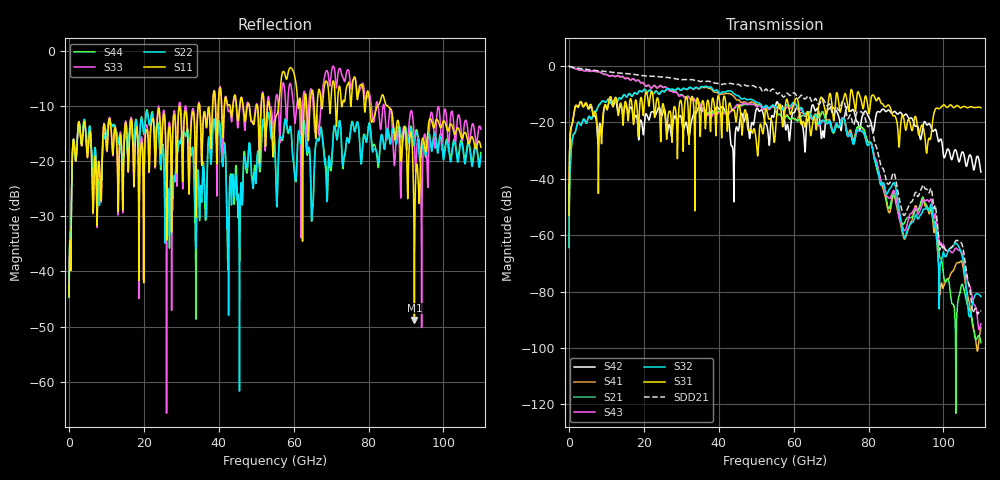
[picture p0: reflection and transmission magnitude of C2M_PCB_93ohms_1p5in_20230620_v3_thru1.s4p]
! Info: Touchstone file created by Circ.  Input file=C2M_PCB_93ohms_1p5in_20230620_v3.circ
# Hz S RI R 50
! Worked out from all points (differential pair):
!   11000 points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, 10 MHz to 110 GHz, reference 50 ohm
!   strongest paths, dB at 10 MHz, 27.51 GHz, 55.01 GHz, 82.51 GHz, 110 GHz:
!     S31: -52.8, -27.0, -25.3, -11.4, -14.8
!     S32: -64.3, -8.2, -14.3, -37.2, -81.7
!     S43: -0.1, -9.0, -14.7, -35.7, -91.5
!     S21: -0.1, -8.8, -15.2, -38.1, -98.1
!     S41: -64.3, -8.3, -15.3, -36.9, -92.9
!     S42: -52.7, -23.3, -15.6, -16.2, -37.6
!   taken as a pair (ports 3,1 in; 4,2 out), SDD21 dB: -0.1, -4.3, -8.9, -31.0, -87.0
!   lowest |S11| = -48.8 dB at 92.23 GHz (marker M1), VSWR 1.01, Z = 50.2 - j0.321 ohm
!   |S11| at or under -10 dB: start of sweep to 29.46 GHz; 29.57 GHz to 34.53 GHz (4.963 GHz wide, 15.5 % of centre); 85.2 GHz to end of sweep (the widest 3 of 24)
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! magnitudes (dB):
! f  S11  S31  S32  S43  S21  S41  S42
! 10 MHz  -44.6  -52.8  -64.3  -0.1  -0.1  -64.3  -52.7
! 1.84 GHz  -19.9  -13.9  -22.5  -0.9  -0.9  -22.5  -13.9
! 8.6 GHz  -27.0  -26.5  -12.8  -2.4  -2.4  -12.9  -23.0
! 36.48 GHz  -12.5  -21.2  -7.2  -16.9  -16.5  -7.5  -16.5
! 78.14 GHz  -6.1  -12.8  -23.0  -23.1  -21.7  -21.8  -18.7
! 92.23 GHz  -48.8  -18.5  -54.0  -50.7  -52.0  -50.4  -20.8
! 110 GHz  -17.5  -14.8  -81.7  -91.5  -98.1  -92.9  -37.6
